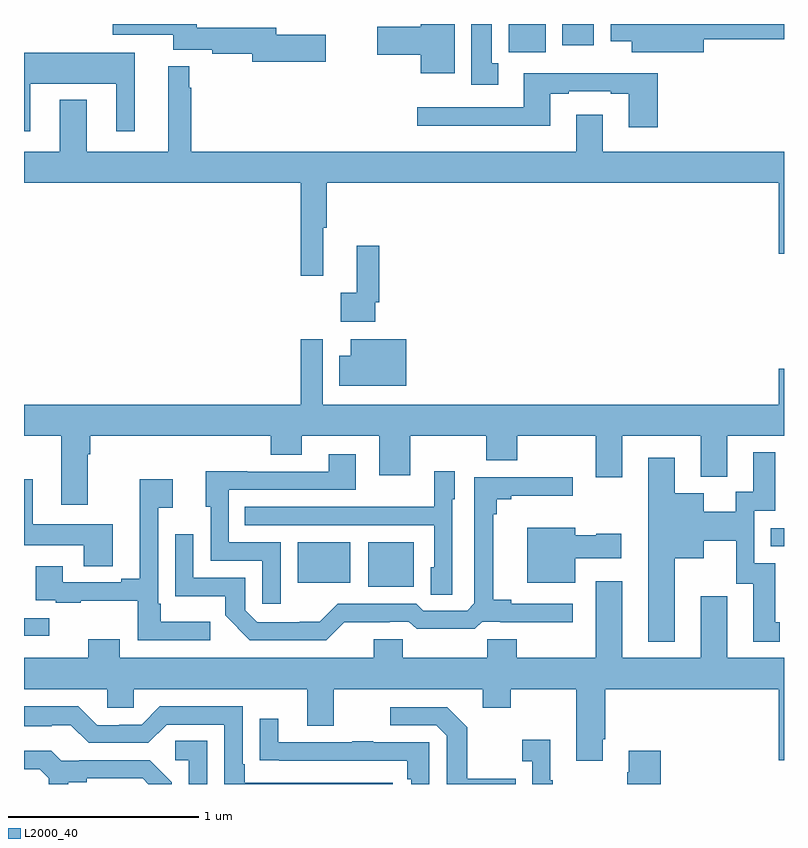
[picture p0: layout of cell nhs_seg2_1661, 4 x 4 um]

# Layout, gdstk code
import gdstk
lib = gdstk.Library(unit=1e-6, precision=1e-09)
def R(c, l, rs):  # rectangles x0, y0, x1, y1
    for r in rs: c.add(gdstk.rectangle(r[:2], r[2:], *l))
def P(c, l, *ps):  # polygons
    for p in ps: c.add(gdstk.Polygon(p, *l))
L2000_40 = (2000, 40)

nhs_seg2_1661 = lib.new_cell('nhs_seg2_1661')
R(nhs_seg2_1661, L2000_40, [(197,650.579,197.134,650.673), (198.812,650.837,199.051,651.073), (198.44,650.858,198.718,651.073), (200.929,651.051,201,651.147), (199.551,653.652,199.747,653.8), (199.832,653.688,199.999,653.8)])
P(nhs_seg2_1661, L2000_40, [(200.578,653.719),(201,653.719),(201,653.8),(200.087,653.8),(200.087,653.708),(200.198,653.708),(200.198,653.651),(200.578,653.651)],
  [(199.267,653.8),(199.088,653.8),(199.088,653.786),(198.858,653.786),(198.858,653.639),(199.088,653.639),(199.088,653.54),(199.267,653.54)],
  [(199.495,653.593),(199.462,653.593),(199.462,653.8),(199.355,653.8),(199.355,653.481),(199.495,653.481)],
  [(198.589,653.744),(198.328,653.744),(198.328,653.78),(197.909,653.78),(197.909,653.8),(197.466,653.8),(197.466,653.744),(197.786,653.744),(197.786,653.664),(197.992,653.664),(197.992,653.644),(198.2,653.644),(198.2,653.602),(198.589,653.602)],
  [(197.032,653.486),(197.486,653.486),(197.486,653.235),(197.584,653.235),(197.584,653.65),(197,653.65),(197,653.235),(197.032,653.235)],
  [(198.457,652.476),(198.575,652.476),(198.575,652.728),(198.593,652.728),(198.593,652.964),(200.972,652.964),(200.972,652.59),(201,652.59),(201,653.128),(200.047,653.128),(200.047,653.323),(199.907,653.323),(199.907,653.128),(197.881,653.128),(197.881,653.465),(197.87,653.465),(197.87,653.578),(197.759,653.578),(197.759,653.128),(197.329,653.128),(197.329,653.401),(197.189,653.401),(197.189,653.128),(197,653.128),(197,652.964),(198.457,652.964)],
  [(200.336,653.542),(199.631,653.542),(199.631,653.361),(199.071,653.361),(199.071,653.264),(199.771,653.264),(199.771,653.433),(199.867,653.433),(199.867,653.445),(200.087,653.445),(200.087,653.433),(200.183,653.433),(200.183,653.256),(200.336,653.256)],
  [(198.849,652.336),(198.869,652.336),(198.869,652.633),(198.752,652.633),(198.752,652.385),(198.666,652.385),(198.666,652.232),(198.849,652.232)],
  [(199.012,652.141),(198.719,652.141),(198.719,652.054),(198.658,652.054),(198.658,651.896),(199.012,651.896)],
  [(197.335,651.536),(197.348,651.536),(197.348,651.632),(198.299,651.632),(198.299,651.533),(198.463,651.533),(198.463,651.632),(198.869,651.632),(198.869,651.426),(199.033,651.426),(199.033,651.632),(199.433,651.632),(199.433,651.504),(199.597,651.504),(199.597,651.632),(200.009,651.632),(200.009,651.414),(200.149,651.414),(200.149,651.632),(200.561,651.632),(200.561,651.416),(200.701,651.416),(200.701,651.632),(201,651.632),(201,651.985),(200.972,651.985),(200.972,651.796),(198.573,651.796),(198.573,652.141),(198.457,652.141),(198.457,651.796),(197,651.796),(197,651.632),(197.195,651.632),(197.195,651.27),(197.335,651.27)],
  [(200.425,650.987),(200.578,650.987),(200.578,651.08),(200.748,651.08),(200.748,650.853),(200.837,650.853),(200.837,650.55),(200.977,650.55),(200.977,650.652),(200.953,650.652),(200.953,650.961),(200.844,650.961),(200.844,651.237),(200.953,651.237),(200.953,651.547),(200.837,651.547),(200.837,651.338),(200.747,651.338),(200.747,651.232),(200.578,651.232),(200.578,651.331),(200.425,651.331),(200.425,651.517),(200.285,651.517),(200.285,650.549),(200.425,650.549)],
  [(198.351,651.072),(198.078,651.072),(198.078,651.348),(198.745,651.348),(198.745,651.535),(198.605,651.535),(198.605,651.444),(198.175,651.444),(198.175,651.446),(197.957,651.446),(197.957,651.258),(197.982,651.258),(197.982,650.976),(198.255,650.976),(198.255,650.748),(198.351,650.748)],
  [(199.254,651.3),(199.267,651.3),(199.267,651.445),(199.158,651.445),(199.158,651.259),(198.841,651.259),(198.841,651.258),(198.163,651.258),(198.163,651.162),(199.158,651.162),(199.158,650.94),(199.142,650.94),(199.142,650.797),(199.254,650.797)],
  [(198.686,650.651),(198.926,650.651),(198.926,650.655),(199.026,650.655),(199.066,650.616),(199.373,650.616),(199.413,650.655),(199.507,650.655),(199.507,650.651),(199.888,650.651),(199.888,650.748),(199.564,650.748),(199.564,650.771),(199.469,650.771),(199.469,651.221),(199.487,651.221),(199.487,651.298),(199.564,651.298),(199.564,651.317),(199.888,651.317),(199.888,651.414),(199.371,651.414),(199.371,650.751),(199.332,650.712),(199.101,650.712),(199.065,650.748),(198.651,650.748),(198.557,650.654),(198.452,650.654),(198.452,650.652),(198.228,650.652),(198.165,650.715),(198.165,650.886),(197.892,650.886),(197.892,651.115),(197.796,651.115),(197.796,650.789),(198.058,650.789),(198.058,650.687),(198.188,650.556),(198.591,650.556)],
  [(197.467,651.166),(197.047,651.166),(197.047,651.403),(197,651.403),(197,651.056),(197.315,651.056),(197.315,650.947),(197.467,650.947)],
  [(197.98,650.653),(197.719,650.653),(197.719,650.749),(197.706,650.749),(197.706,651.254),(197.782,651.254),(197.782,651.403),(197.609,651.403),(197.609,650.881),(197.513,650.881),(197.513,650.862),(197.203,650.862),(197.203,650.947),(197.063,650.947),(197.063,650.766),(197.167,650.766),(197.167,650.754),(197.299,650.754),(197.299,650.765),(197.598,650.765),(197.598,650.556),(197.98,650.556)],
  [(199.9,650.987),(200.143,650.987),(200.143,651.117),(200.013,651.117),(200.013,651.109),(199.9,651.109),(199.9,651.148),(199.649,651.148),(199.649,650.858),(199.9,650.858)],
  [(200.047,650.035),(200.06,650.035),(200.06,650.3),(200.972,650.3),(200.972,649.926),(201,649.926),(201,650.464),(200.701,650.464),(200.701,650.788),(200.561,650.788),(200.561,650.464),(200.149,650.464),(200.149,650.866),(200.009,650.866),(200.009,650.464),(199.593,650.464),(199.593,650.562),(199.438,650.562),(199.438,650.464),(198.993,650.464),(198.993,650.562),(198.842,650.562),(198.842,650.464),(197.503,650.464),(197.503,650.563),(197.339,650.563),(197.339,650.464),(197,650.464),(197,650.3),(197.439,650.3),(197.439,650.202),(197.577,650.202),(197.577,650.3),(198.491,650.3),(198.491,650.106),(198.631,650.106),(198.631,650.3),(199.415,650.3),(199.415,650.201),(199.563,650.201),(199.563,650.3),(199.907,650.3),(199.907,649.923),(200.047,649.923)],
  [(198.94,649.806),(198.163,649.806),(198.163,649.903),(198.15,649.903),(198.15,650.208),(197.715,650.208),(197.619,650.112),(197.501,650.112),(197.501,650.109),(197.385,650.109),(197.285,650.209),(197,650.209),(197,650.105),(197.147,650.105),(197.147,650.109),(197.247,650.109),(197.34,650.016),(197.655,650.016),(197.751,650.112),(198.054,650.112),(198.054,649.8),(198.94,649.8)],
  [(199.589,649.827),(199.333,649.827),(199.333,650.099),(199.227,650.205),(198.927,650.205),(198.927,650.109),(199.17,650.109),(199.224,650.055),(199.224,649.8),(199.589,649.8)],
  [(199.134,650.019),(198.839,650.019),(198.839,650.024),(198.727,650.024),(198.727,650.019),(198.337,650.019),(198.337,650.143),(198.241,650.143),(198.241,649.924),(198.343,649.924),(198.343,649.923),(199.018,649.923),(199.018,649.826),(199.038,649.826),(199.038,649.8),(199.134,649.8)],
  [(199.783,649.819),(199.771,649.819),(199.771,650.032),(199.623,650.032),(199.623,649.919),(199.674,649.919),(199.674,649.8),(199.783,649.8)],
  [(197.964,650.027),(197.796,650.027),(197.796,649.926),(197.868,649.926),(197.868,649.8),(197.964,649.8)],
  [(197.233,649.808),(197.329,649.808),(197.329,649.83),(197.624,649.83),(197.654,649.8),(197.778,649.8),(197.778,649.81),(197.662,649.926),(197.29,649.926),(197.29,649.923),(197.196,649.923),(197.144,649.975),(197.001,649.975),(197.001,649.878),(197.082,649.878),(197.129,649.831),(197.129,649.8),(197.233,649.8)],
  [(200.351,649.975),(200.183,649.975),(200.183,649.862),(200.176,649.862),(200.176,649.8),(200.351,649.8)])

lib.write_gds('nhs_seg2_1661.gds')
